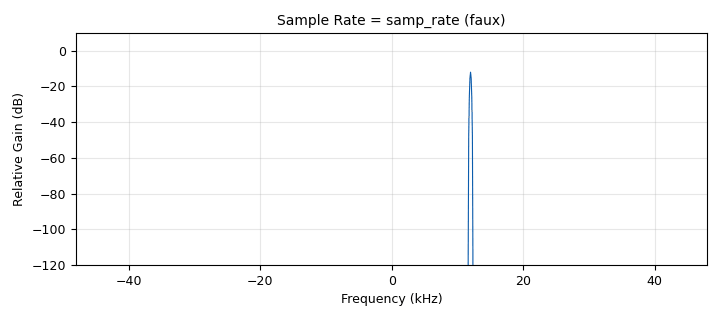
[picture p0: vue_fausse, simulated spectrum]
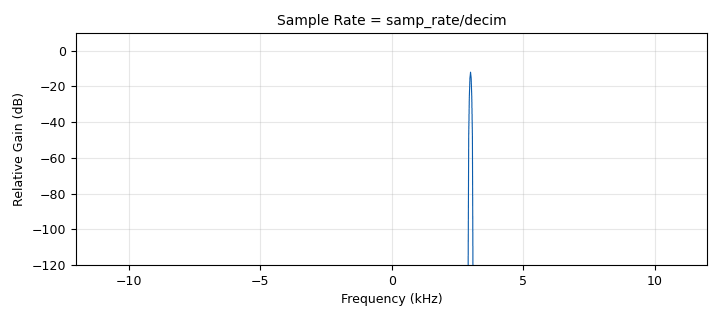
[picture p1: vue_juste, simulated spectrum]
options:
  parameters:
    generate_options: qt_gui
    id: fg_ch21_001
    output_language: python
    title: FG-CH21-001
  states: {}

blocks:
- name: decim
  id: variable
  parameters:
    value: '4'
  states: {}
- name: f_raie
  id: variable
  parameters:
    value: '3000'
  states: {}
- name: samp_rate
  id: variable
  parameters:
    value: '96000'
  states: {}
- name: debit
  id: blocks_throttle2
  parameters:
    samples_per_second: samp_rate
    type: complex
  states: {}
- name: raie
  id: analog_sig_source_x
  parameters:
    amp: '0.7'
    freq: f_raie
    offset: '0'
    phase: '0'
    samp_rate: samp_rate
    type: complex
    waveform: analog.GR_COS_WAVE
  states: {}
- name: reduire
  id: rational_resampler_xxx
  parameters:
    decim: decim
    interp: '1'
    type: ccc
  states: {}
- name: vue_fausse
  id: qtgui_freq_sink_x
  parameters:
    average: '0.2'
    bw: samp_rate
    fc: '0'
    fftsize: '1024'
    grid: 'True'
    gui_hint: 1,0,1,1
    legend: 'False'
    name: '"Sample Rate = samp_rate (faux)"'
    type: complex
    ymin: '-120'
  states: {}
- name: vue_juste
  id: qtgui_freq_sink_x
  parameters:
    average: '0.2'
    bw: samp_rate/decim
    fc: '0'
    fftsize: '1024'
    grid: 'True'
    gui_hint: 0,0,1,1
    legend: 'False'
    name: '"Sample Rate = samp_rate/decim"'
    type: complex
    ymin: '-120'
  states: {}

connections:
- [debit, '0', reduire, '0']
- [raie, '0', debit, '0']
- [reduire, '0', vue_fausse, '0']
- [reduire, '0', vue_juste, '0']

metadata:
  file_format: 1
  grc_version: 3.10.12.0
